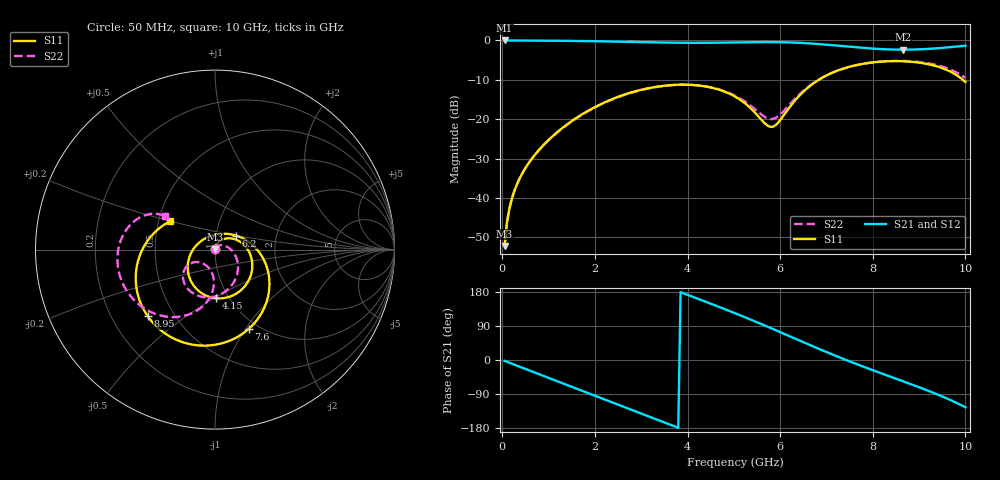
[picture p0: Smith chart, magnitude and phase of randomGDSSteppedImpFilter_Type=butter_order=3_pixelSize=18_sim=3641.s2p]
! freq	dB(S11)	phase(S11)	dB(S12)	phase(S12)
!  dB(S21)	phase(S21)	dB(S22)	phase(S22)
!S-par simulation data
#  GHz  S  DB  R 50
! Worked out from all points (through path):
!   200 points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, 50 MHz to 10 GHz, reference 50 ohm
!   highest |S21| = 0.00 dB at 50 MHz (marker M1); lowest = -2.3 dB at 8.65 GHz (marker M2)
!   group delay of S21, straight-line fit = 135 ps
!   lowest |S11| = -52.2 dB at 50 MHz (marker M3), VSWR 1.00, Z = 50 + j0.245 ohm
!   |S11| at or under -10 dB: start of sweep to 6.832 GHz; 9.947 GHz to end of sweep
!   |S22| runs from -52.2 to -5.2 dB; largest |S21 - S12| = 0
!   S11 on the Smith chart (normalised r, x): 50 MHz: 1.00, +0.00; 4.15 GHz: 0.87, -0.51; 6.2 GHz: 1.25, +0.20; 7.6 GHz: 0.90, -1.03; 8.95 GHz: 0.36, -0.37; 10 GHz: 0.57, +0.20
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0.05  -52.19 85.6  -0.00 -2.4  -0.00 -2.4  -52.22 83.6
0.1  -46.28 84.5  -0.01 -4.8  -0.01 -4.8  -46.29 80.3
0.2  -40.46 82.2  -0.02 -9.5  -0.02 -9.5  -40.43 73.4
0.45  -33.37 77.1  -0.03 -21.3  -0.03 -21.3  -33.35 57.4
1.15  -23.65 55.7  -0.08 -54.3  -0.08 -54.3  -23.75 16.0
1.75  -18.55 30.6  -0.15 -82.7  -0.15 -82.7  -18.68 -15.3
2.5  -14.31 -4.9  -0.30 -118.1  -0.30 -118.1  -14.41 -50.7
3.4  -11.63 -49.7  -0.52 -160.2  -0.52 -160.2  -11.70 -89.6
4.15  -11.33 -88.5  -0.60 165.0  -0.60 165.0  -11.34 -119.3
4.6  -12.22 -113.6  -0.58 143.9  -0.58 143.9  -12.16 -135.4
5.05  -14.41 -142.8  -0.50 122.2  -0.50 122.2  -14.16 -147.8
5.45  -18.25 179.9  -0.43 102.2  -0.43 102.2  -17.40 -148.6
5.8  -21.95 113.3  -0.41 84.1  -0.41 84.1  -19.97 -124.2
6.2  -17.01 33.5  -0.49 63.0  -0.49 63.0  -16.34 -93.6
6.7  -11.05 -12.3  -0.80 36.5  -0.80 36.5  -10.96 -97.6
7.15  -8.07 -41.6  -1.23 13.4  -1.23 13.4  -8.08 -112.8
7.6  -6.38 -66.9  -1.71 -8.5  -1.71 -8.5  -6.40 -130.2
8.35  -5.27 -105.0  -2.28 -42.6  -2.28 -42.6  -5.24 -159.2
8.65  -5.28 -119.9  -2.34 -55.9  -2.34 -55.9  -5.21 -170.5
8.95  -5.56 -135.3  -2.28 -69.5  -2.28 -69.5  -5.42 178.3
9.5  -7.02 -168.0  -1.89 -96.2  -1.89 -96.2  -6.64 158.5
10  -10.54 147.9  -1.34 -124.8  -1.34 -124.8  -9.49 146.3
